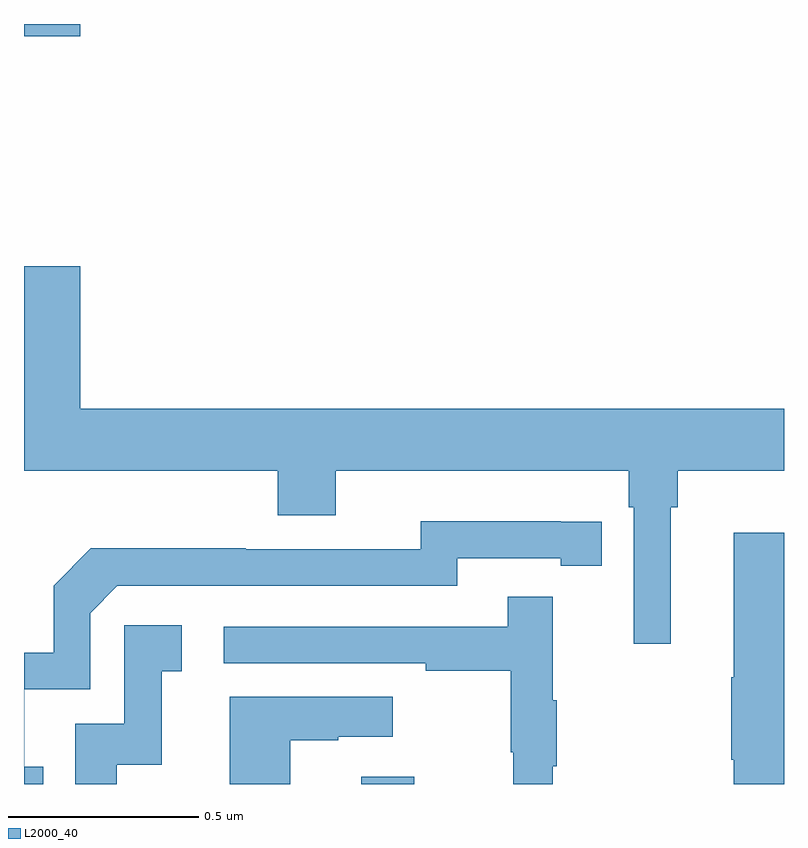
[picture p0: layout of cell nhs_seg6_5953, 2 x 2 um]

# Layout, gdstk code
import gdstk
lib = gdstk.Library(unit=1e-6, precision=1e-09)
def R(c, l, rs):  # rectangles x0, y0, x1, y1
    for r in rs: c.add(gdstk.rectangle(r[:2], r[2:], *l))
def P(c, l, *ps):  # polygons
    for p in ps: c.add(gdstk.Polygon(p, *l))
L2000_40 = (2000, 40)

nhs_seg6_5953 = lib.new_cell('nhs_seg6_5953')
R(nhs_seg6_5953, L2000_40, [(189.887,958.5,190.027,958.519), (189,960.468,189.148,960.5)])
P(nhs_seg6_5953, L2000_40, [(190.702,959.228),(190.721,959.228),(190.721,959.324),(191,959.324),(191,959.488),(189.148,959.488),(189.148,959.863),(189,959.863),(189,959.324),(189.668,959.324),(189.668,959.207),(189.82,959.207),(189.82,959.324),(190.592,959.324),(190.592,959.228),(190.605,959.228),(190.605,958.869),(190.702,958.869)],
  [(189.05,958.545),(189.001,958.545),(189.001,958.749),(189.174,958.749),(189.174,958.95),(189.246,959.022),(190.14,959.022),(190.14,959.094),(190.412,959.094),(190.412,959.074),(190.52,959.074),(190.52,959.19),(190.412,959.19),(190.412,959.191),(190.044,959.191),(190.044,959.118),(189.584,959.118),(189.584,959.12),(189.176,959.12),(189.078,959.022),(189.078,958.845),(189,958.845),(189,958.5),(189.05,958.5)],
  [(191,959.161),(190.868,959.161),(190.868,958.781),(190.861,958.781),(190.861,958.564),(190.868,958.564),(190.868,958.5),(191,958.5)],
  [(190.391,958.547),(190.402,958.547),(190.402,958.721),(190.391,958.721),(190.391,958.993),(190.273,958.993),(190.273,958.914),(189.525,958.914),(189.525,958.818),(190.057,958.818),(190.057,958.798),(190.281,958.798),(190.281,958.584),(190.288,958.584),(190.288,958.5),(190.391,958.5)],
  [(189.244,958.551),(189.362,958.551),(189.362,958.797),(189.415,958.797),(189.415,958.918),(189.264,958.918),(189.264,958.659),(189.135,958.659),(189.135,958.5),(189.244,958.5)],
  [(189.7,958.615),(189.827,958.615),(189.827,958.625),(189.97,958.625),(189.97,958.729),(189.542,958.729),(189.542,958.5),(189.7,958.5)])

lib.write_gds('nhs_seg6_5953.gds')
